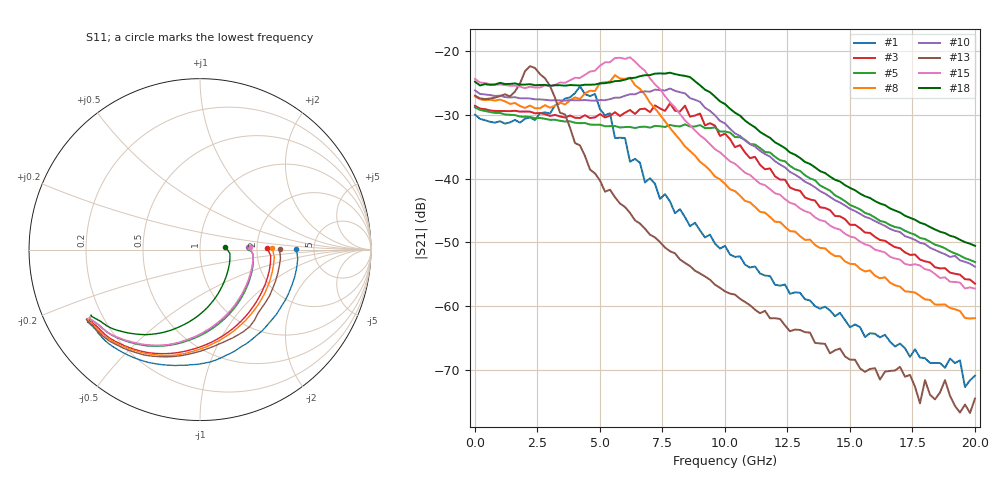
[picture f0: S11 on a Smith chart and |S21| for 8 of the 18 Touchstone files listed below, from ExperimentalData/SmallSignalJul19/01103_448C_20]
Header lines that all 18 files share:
!;Filter: kein Filter
!auto
!SP-Measurements Prober G4
!SP-Measurements Prober G4
!134
!12
!20
!-20
# Hz S  RI  R 50
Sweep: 10 MHz to 20.01 GHz
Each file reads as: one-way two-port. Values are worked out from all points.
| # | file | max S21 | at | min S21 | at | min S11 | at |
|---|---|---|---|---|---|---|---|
| 1 | 01103_448C_C134R233_I_1mA_20°C.s2p | -25.52 dB | 4.21 GHz | -72.7 dB | 19.61 GHz | -5.0 dB | 10 MHz |
| 2 | 01103_448C_C134R233_I_2mA_20°C.s2p | -27.72 dB | 7.21 GHz | -60.3 dB | 20.01 GHz | -6.6 dB | 10 MHz |
| 3 | 01103_448C_C134R233_I_3mA_20°C.s2p | -28.18 dB | 7.81 GHz | -56.5 dB | 20.01 GHz | -8.1 dB | 10 MHz |
| 4 | 01103_448C_C134R233_I_4mA_20°C.s2p | -28.39 dB | 10 MHz | -53.9 dB | 19.61 GHz | -9.5 dB | 10 MHz |
| 5 | 01103_448C_C134R233_I_5mA_20°C.s2p | -28.81 dB | 10 MHz | -53.1 dB | 20.01 GHz | -10.8 dB | 10 MHz |
| 6 | 01103_448C_C134R233_I_6mA_20°C.s2p | -29.67 dB | 10 MHz | -53.3 dB | 20.01 GHz | -12.0 dB | 10 MHz |
| 7 | 01103_448C_C134R235_I_1mA_20°C.s2p | -24.35 dB | 3.41 GHz | -73.7 dB | 19.81 GHz | -5.6 dB | 10 MHz |
| 8 | 01103_448C_C134R235_I_2mA_20°C.s2p | -23.75 dB | 5.61 GHz | -62.0 dB | 19.81 GHz | -7.5 dB | 10 MHz |
| 9 | 01103_448C_C134R235_I_3mA_20°C.s2p | -24.11 dB | 7.21 GHz | -56.8 dB | 20.01 GHz | -9.2 dB | 10 MHz |
| 10 | 01103_448C_C134R235_I_4mA_20°C.s2p | -25.84 dB | 7.81 GHz | -53.8 dB | 20.01 GHz | -11.0 dB | 10 MHz |
| 11 | 01103_448C_C134R235_I_5mA_20°C.s2p | -26.63 dB | 10 MHz | -52.0 dB | 20.01 GHz | -12.4 dB | 10 MHz |
| 12 | 01103_448C_C134R235_I_6mA_20°C.s2p | -26.85 dB | 10 MHz | -51.2 dB | 20.01 GHz | -14.0 dB | 10 MHz |
| 13 | 01103_448C_C134R237_I_1mA_20°C.s2p | -22.34 dB | 2.21 GHz | -76.8 dB | 19.81 GHz | -6.6 dB | 10 MHz |
| 14 | 01103_448C_C134R237_I_2mA_20°C.s2p | -20.42 dB | 4.81 GHz | -63.7 dB | 20.01 GHz | -8.7 dB | 10 MHz |
| 15 | 01103_448C_C134R237_I_3mA_20°C.s2p | -20.94 dB | 6.21 GHz | -57.3 dB | 20.01 GHz | -10.6 dB | 10 MHz |
| 16 | 01103_448C_C134R237_I_4mA_20°C.s2p | -22.20 dB | 6.61 GHz | -53.8 dB | 20.01 GHz | -12.6 dB | 10 MHz |
| 17 | 01103_448C_C134R237_I_5mA_20°C.s2p | -22.68 dB | 7.21 GHz | -51.6 dB | 20.01 GHz | -14.5 dB | 10 MHz |
| 18 | 01103_448C_C134R237_I_6mA_20°C.s2p | -23.37 dB | 7.81 GHz | -50.6 dB | 20.01 GHz | -16.5 dB | 10 MHz |
